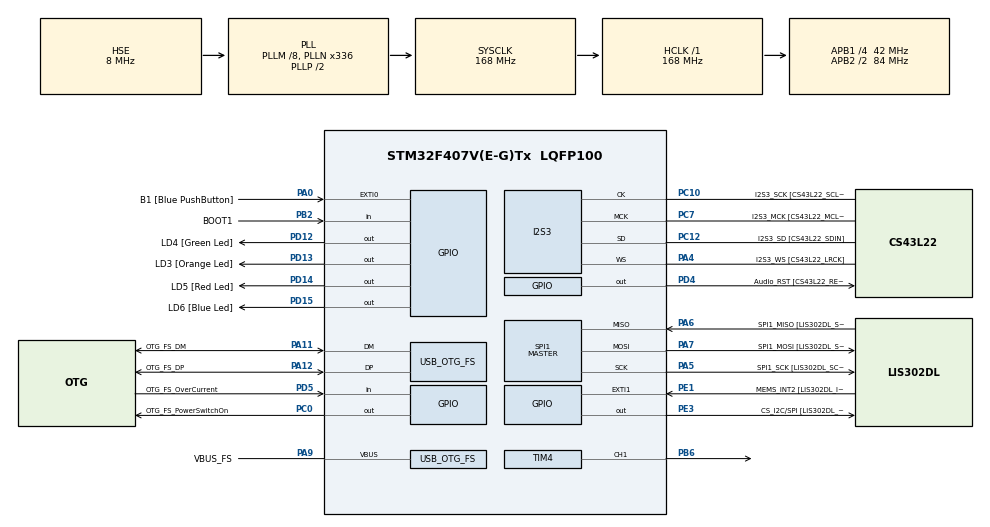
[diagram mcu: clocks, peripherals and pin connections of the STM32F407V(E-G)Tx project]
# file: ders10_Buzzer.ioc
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I2S3.AudioFreq-Half_Duplex_Master=I2S_AUDIOFREQ_96K
I2S3.ErrorAudioFreq=-2.34 %
I2S3.ErrorAudioFreq-Half_Duplex_Master=0.8 %
I2S3.FullDuplexMode=I2S_FULLDUPLEXMODE_DISABLE
I2S3.Instance=SPI$Index
I2S3.RealAudioFreq=93.75 KHz
I2S3.RealAudioFreq-Half_Duplex_Master=96.774 KHz
I2S3.VirtualMode=I2S_MODE_MASTER
Mcu.Family=STM32F4
Mcu.Name=STM32F407V(E-G)Tx
Mcu.Package=LQFP100
NVIC.OTG_FS_IRQn=true\:0\:0\:false\:false\:true\:true\:true\:true
NVIC.PriorityGroup=NVIC_PRIORITYGROUP_0
PA0-WKUP.GPIO_Label=B1 [Blue PushButton]
PA0-WKUP.GPIO_ModeDefaultEXTI=GPIO_MODE_EVT_RISING
PA0-WKUP.GPIO_PuPd=GPIO_NOPULL
PA0-WKUP.Signal=GPXTI0
PA10.GPIO_Label=OTG_FS_ID
PA10.GPIO_Mode=GPIO_MODE_AF_PP
PA10.GPIO_PuPd=GPIO_NOPULL
PA10.GPIO_Speed=GPIO_SPEED_FREQ_LOW
PA10.Signal=USB_OTG_FS_ID
PA11.GPIO_Label=OTG_FS_DM
PA11.GPIO_Mode=GPIO_MODE_AF_PP
PA11.GPIO_PuPd=GPIO_NOPULL
PA11.GPIO_Speed=GPIO_SPEED_FREQ_LOW
PA11.Mode=Host_Only
PA11.Signal=USB_OTG_FS_DM
PA12.GPIO_Label=OTG_FS_DP
PA12.GPIO_Mode=GPIO_MODE_AF_PP
PA12.GPIO_PuPd=GPIO_NOPULL
PA12.GPIO_Speed=GPIO_SPEED_FREQ_LOW
PA12.Mode=Host_Only
PA12.Signal=USB_OTG_FS_DP
PA13.GPIO_Label=SWDIO
PA13.Mode=Serial_Wire
PA13.Signal=SYS_JTMS-SWDIO
PA14.GPIO_Label=SWCLK
PA14.Mode=Serial_Wire
PA14.Signal=SYS_JTCK-SWCLK
PA4.GPIO_Label=I2S3_WS [CS43L22_LRCK]
PA4.GPIO_Mode=GPIO_MODE_AF_PP
PA4.GPIO_PuPd=GPIO_NOPULL
PA4.GPIO_Speed=GPIO_SPEED_FREQ_LOW
PA4.Mode=Half_Duplex_Master
PA4.Signal=I2S3_WS
PA5.GPIO_Label=SPI1_SCK [LIS302DL_SCL/SPC]
PA5.GPIO_Mode=GPIO_MODE_AF_PP
PA5.GPIO_PuPd=GPIO_NOPULL
PA5.GPIO_Speed=GPIO_SPEED_FREQ_LOW
PA5.Mode=Full_Duplex_Master
PA5.Signal=SPI1_SCK
PA6.GPIO_Label=SPI1_MISO [LIS302DL_SDO]
PA6.GPIO_Mode=GPIO_MODE_AF_PP
PA6.GPIO_PuPd=GPIO_NOPULL
PA6.GPIO_Speed=GPIO_SPEED_FREQ_LOW
PA6.Mode=Full_Duplex_Master
PA6.Signal=SPI1_MISO
PA7.GPIO_Label=SPI1_MOSI [LIS302DL_SDA/SDI/SDO]
PA7.GPIO_Mode=GPIO_MODE_AF_PP
PA7.GPIO_PuPd=GPIO_NOPULL
PA7.GPIO_Speed=GPIO_SPEED_FREQ_LOW
PA7.Mode=Full_Duplex_Master
PA7.Signal=SPI1_MOSI
PA9.GPIO_Label=VBUS_FS
PA9.GPIO_Mode=GPIO_MODE_INPUT
PA9.GPIO_PuPd=GPIO_NOPULL
PA9.Mode=Activate_VBUS
PA9.Signal=USB_OTG_FS_VBUS
PB10.GPIO_Label=CLK_IN [MP45DT02_CLK]
PB10.GPIO_Mode=GPIO_MODE_AF_PP
PB10.GPIO_PuPd=GPIO_NOPULL
PB10.GPIO_Speed=GPIO_SPEED_FREQ_LOW
PB10.Signal=I2S2_CK
PB2.GPIO_Label=BOOT1
PB2.GPIO_Mode=GPIO_MODE_INPUT
PB2.GPIO_PuPd=GPIO_NOPULL
PB2.Signal=GPIO_Input
PB3.GPIO_Label=SWO
PB3.Signal=SYS_JTDO-SWO
PB6.Signal=S_TIM4_CH1
PB9.GPIO_Label=Audio_SDA [CS43L22_SDA]
PB9.GPIO_Mode=GPIO_MODE_AF_OD
PB9.GPIO_Pu=GPIO_PULLUP
PB9.GPIO_PuPd=GPIO_NOPULL
PB9.GPIO_Speed=GPIO_SPEED_FREQ_LOW
PB9.Signal=I2C1_SDA
PC0.GPIO_Label=OTG_FS_PowerSwitchOn
PC0.GPIO_PuPd=GPIO_NOPULL
PC0.GPIO_Speed=GPIO_SPEED_FREQ_LOW
PC0.PinState=GPIO_PIN_SET
PC0.Signal=GPIO_Output
PC10.GPIO_Label=I2S3_SCK [CS43L22_SCLK]
PC10.GPIO_Mode=GPIO_MODE_AF_PP
PC10.GPIO_PuPd=GPIO_NOPULL
PC10.GPIO_Speed=GPIO_SPEED_FREQ_LOW
PC10.Mode=Half_Duplex_Master
PC10.Signal=I2S3_CK
PC12.GPIO_Label=I2S3_SD [CS43L22_SDIN]
PC12.GPIO_Mode=GPIO_MODE_AF_PP
PC12.GPIO_PuPd=GPIO_NOPULL
PC12.GPIO_Speed=GPIO_SPEED_FREQ_LOW
PC12.Mode=Half_Duplex_Master
PC12.Signal=I2S3_SD
PC14-OSC32_IN.GPIO_Label=PC14-OSC32_IN
PC14-OSC32_IN.Mode=LSE-External-Oscillator
PC14-OSC32_IN.Signal=RCC_OSC32_IN
PC15-OSC32_OUT.GPIO_Label=PC15-OSC32_OUT
PC15-OSC32_OUT.Mode=LSE-External-Oscillator
PC15-OSC32_OUT.Signal=RCC_OSC32_OUT
PC3.GPIO_Label=PDM_OUT [MP45DT02_DOUT]
PC3.GPIO_Mode=GPIO_MODE_AF_PP
PC3.GPIO_PuPd=GPIO_NOPULL
PC3.GPIO_Speed=GPIO_SPEED_FREQ_LOW
PC3.Signal=I2S2_SD
PC7.GPIO_Label=I2S3_MCK [CS43L22_MCLK]
PC7.GPIO_Mode=GPIO_MODE_AF_PP
PC7.GPIO_PuPd=GPIO_NOPULL
PC7.GPIO_Speed=GPIO_SPEED_FREQ_LOW
PC7.Mode=Master_Clock_Activated
PC7.Signal=I2S3_MCK
PD12.GPIO_Label=LD4 [Green Led]
PD12.GPIO_PuPd=GPIO_NOPULL
PD12.GPIO_Speed=GPIO_SPEED_FREQ_LOW
PD12.Signal=GPIO_Output
PD13.GPIO_Label=LD3 [Orange Led]
PD13.GPIO_PuPd=GPIO_NOPULL
PD13.GPIO_Speed=GPIO_SPEED_FREQ_LOW
PD13.Signal=GPIO_Output
PD14.GPIO_Label=LD5 [Red Led]
PD14.GPIO_PuPd=GPIO_NOPULL
PD14.GPIO_Speed=GPIO_SPEED_FREQ_LOW
PD14.Signal=GPIO_Output
PD15.GPIO_Label=LD6 [Blue Led]
PD15.GPIO_PuPd=GPIO_NOPULL
PD15.GPIO_Speed=GPIO_SPEED_FREQ_LOW
PD15.Signal=GPIO_Output
PD4.GPIO_Label=Audio_RST [CS43L22_RESET]
PD4.GPIO_PuPd=GPIO_NOPULL
PD4.GPIO_Speed=GPIO_SPEED_FREQ_LOW
PD4.Signal=GPIO_Output
PD5.GPIO_Label=OTG_FS_OverCurrent
PD5.GPIO_Mode=GPIO_MODE_INPUT
PD5.GPIO_PuPd=GPIO_NOPULL
PD5.Signal=GPIO_Input
PE1.GPIO_Label=MEMS_INT2 [LIS302DL_INT2]
PE1.GPIO_ModeDefaultEXTI=GPIO_MODE_EVT_RISING
PE1.GPIO_PuPd=GPIO_NOPULL
PE1.Signal=GPXTI1
PE3.GPIO_Label=CS_I2C/SPI [LIS302DL_CS_I2C/SPI]
PE3.GPIO_PuPd=GPIO_NOPULL
PE3.GPIO_Speed=GPIO_SPEED_FREQ_LOW
PE3.Signal=GPIO_Output
PH0-OSC_IN.GPIO_Label=PH0-OSC_IN
PH0-OSC_IN.Mode=HSE-External-Oscillator
PH0-OSC_IN.Signal=RCC_OSC_IN
PH1-OSC_OUT.GPIO_Label=PH1-OSC_OUT
PH1-OSC_OUT.Mode=HSE-External-Oscillator
PH1-OSC_OUT.Signal=RCC_OSC_OUT
ProjectManager.HeapSize=0x200
ProjectManager.StackSize=0x400
ProjectManager.TargetToolchain=STM32CubeIDE
RCC.48MHZClocksFreq_Value=48000000
RCC.AHBFreq_Value=168000000
RCC.APB1CLKDivider=RCC_HCLK_DIV4
RCC.APB1Freq_Value=42000000
RCC.APB1TimFreq_Value=84000000
RCC.APB2CLKDivider=RCC_HCLK_DIV2
RCC.APB2Freq_Value=84000000
RCC.APB2TimFreq_Value=168000000
RCC.CortexFreq_Value=168000000
RCC.HCLKFreq_Value=168000000
RCC.HSE_VALUE=8000000
RCC.HSI_VALUE=16000000
RCC.PLLM=8
RCC.PLLN=336
RCC.PLLQ=7
RCC.SYSCLKFreq_VALUE=168000000
RCC.SYSCLKSource=RCC_SYSCLKSOURCE_PLLCLK
RCC.VCOOutputFreq_Value=336000000
SH.S_TIM4_CH1.0=TIM4_CH1,PWM Generation1 CH1
SPI1.BaudRatePrescaler-Full_Duplex_Master=SPI_BAUDRATEPRESCALER_2
SPI1.CalculateBaudRate-Full_Duplex_Master=42.0 MBits/s
SPI1.Direction=SPI_DIRECTION_2LINES
SPI1.Mode=SPI_MODE_MASTER
SPI1.Mode-Full_Duplex_Master=SPI_MODE_MASTER
SPI1.VirtualType=VM_MASTER
TIM4.Channel-PWM\ Generation1\ CH1=TIM_CHANNEL_1
TIM4.Period=999
TIM4.Prescaler=83
USB_HOST.BSP.number=1
USB_HOST.USBH_HandleTypeDef-CDC_FS=hUsbHostFS
USB_HOST.VirtualModeFS=Cdc
USB_HOST0.BSP.STBoard=false
USB_HOST0.BSP.api=Unknown
USB_HOST0.BSP.instance=PC0
USB_HOST0.BSP.ip=GPIO
USB_HOST0.BSP.mode=Output
USB_HOST0.BSP.name=Drive_VBUS_FS
USB_HOST0.BSP.solution=PC0
USB_OTG_FS.VirtualMode=Host_Only
USB_OTG_FS.phy_itface=HCD_PHY_EMBEDDED
VP_USB_HOST_VS_USB_HOST_CDC_FS.Mode=CDC_FS
board=STM32F407G-DISC1

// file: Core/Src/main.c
/* USER CODE BEGIN Header */
/**
 ******************************************************************************
 * @file           : main.c
 * @brief          : Main program body
 ******************************************************************************
 * @attention
 *
 * Copyright (c) 2025 STMicroelectronics.
 * All rights reserved.
 *
 * This software is licensed under terms that can be found in the LICENSE file
 * in the root directory of this software component.
 * If no LICENSE file comes with this software, it is provided AS-IS.
 *
 ******************************************************************************
 */
/* USER CODE END Header */
#include "main.h"
#include "usb_host.h"

I2S_HandleTypeDef hi2s3;

SPI_HandleTypeDef hspi1;

TIM_HandleTypeDef htim4;

void SystemClock_Config(void);
static void MX_GPIO_Init(void);
static void MX_I2S3_Init(void);
static void MX_SPI1_Init(void);
static void MX_TIM4_Init(void);
void MX_USB_HOST_Process(void);

/* USER CODE BEGIN PFP */

void playTone(uint16_t freq, uint32_t duration) {
	uint32_t prescaler = 84 - 1;           // 1 MHz base (assuming 84MHz SYSCLK)
	uint32_t period = (1000000 / freq) - 1;        // ARR

	htim4.Init.Prescaler = prescaler;
	htim4.Init.Period = period;
	HAL_TIM_PWM_Init(&htim4);

	TIM_OC_InitTypeDef sConfigOC = { 0 };
	sConfigOC.OCMode = TIM_OCMODE_PWM1;
	sConfigOC.Pulse = period / 2; // %50 duty cycle
	sConfigOC.OCPolarity = TIM_OCPOLARITY_HIGH;
	sConfigOC.OCFastMode = TIM_OCFAST_DISABLE;
	HAL_TIM_PWM_ConfigChannel(&htim4, &sConfigOC, TIM_CHANNEL_1);

	HAL_TIM_PWM_Start(&htim4, TIM_CHANNEL_1);
	HAL_Delay(duration);
	HAL_TIM_PWM_Stop(&htim4, TIM_CHANNEL_1);
}
/* USER CODE END PFP */

int main(void)
{

  /* MCU Configuration--------------------------------------------------------*/

  /* Reset of all peripherals, Initializes the Flash interface and the Systick. */
  HAL_Init();

  /* Configure the system clock */
  SystemClock_Config();

  /* Initialize all configured peripherals */
  MX_GPIO_Init();
  MX_I2S3_Init();
  MX_SPI1_Init();
  MX_USB_HOST_Init();
  MX_TIM4_Init();
  /* USER CODE BEGIN 2 */
	HAL_TIM_PWM_Start(&htim4, TIM_CHANNEL_1);

  /* USER CODE END 2 */

  /* Infinite loop */
	while (1) {
    MX_USB_HOST_Process();

    /* USER CODE BEGIN 3 */
		playTone(262, 400); // DO
		playTone(294, 400); // RE
		playTone(330, 400); // Mİ
		playTone(349, 400); // FA
		playTone(392, 400); // SOL
		playTone(440, 400); // LA
		playTone(494, 400); // Sİ
		playTone(523, 600); // DO (üst oktav)

		HAL_Delay(1000); // 1 saniye ara
	}
  /* USER CODE END 3 */
}

void SystemClock_Config(void)
{
  RCC_OscInitTypeDef RCC_OscInitStruct = {0};
  RCC_ClkInitTypeDef RCC_ClkInitStruct = {0};

  /** Configure the main internal regulator output voltage
  */
  __HAL_RCC_PWR_CLK_ENABLE();
  __HAL_PWR_VOLTAGESCALING_CONFIG(PWR_REGULATOR_VOLTAGE_SCALE1);

  /** Initializes the RCC Oscillators according to the specified parameters
  * in the RCC_OscInitTypeDef structure.
  */
  RCC_OscInitStruct.OscillatorType = RCC_OSCILLATORTYPE_HSE;
  RCC_OscInitStruct.HSEState = RCC_HSE_ON;
  RCC_OscInitStruct.PLL.PLLState = RCC_PLL_ON;
  RCC_OscInitStruct.PLL.PLLSource = RCC_PLLSOURCE_HSE;
  RCC_OscInitStruct.PLL.PLLM = 8;
  RCC_OscInitStruct.PLL.PLLN = 336;
  RCC_OscInitStruct.PLL.PLLP = RCC_PLLP_DIV2;
  RCC_OscInitStruct.PLL.PLLQ = 7;
  if (HAL_RCC_OscConfig(&RCC_OscInitStruct) != HAL_OK)
  {
    Error_Handler();
  }

  /** Initializes the CPU, AHB and APB buses clocks
  */
  RCC_ClkInitStruct.ClockType = RCC_CLOCKTYPE_HCLK|RCC_CLOCKTYPE_SYSCLK
                              |RCC_CLOCKTYPE_PCLK1|RCC_CLOCKTYPE_PCLK2;
  RCC_ClkInitStruct.SYSCLKSource = RCC_SYSCLKSOURCE_PLLCLK;
  RCC_ClkInitStruct.AHBCLKDivider = RCC_SYSCLK_DIV1;
  RCC_ClkInitStruct.APB1CLKDivider = RCC_HCLK_DIV4;
  RCC_ClkInitStruct.APB2CLKDivider = RCC_HCLK_DIV2;

  if (HAL_RCC_ClockConfig(&RCC_ClkInitStruct, FLASH_LATENCY_5) != HAL_OK)
  {
    Error_Handler();
  }
}

static void MX_I2S3_Init(void)
{

  hi2s3.Instance = SPI3;
  hi2s3.Init.Mode = I2S_MODE_MASTER_TX;
  hi2s3.Init.Standard = I2S_STANDARD_PHILIPS;
  hi2s3.Init.DataFormat = I2S_DATAFORMAT_16B;
  hi2s3.Init.MCLKOutput = I2S_MCLKOUTPUT_ENABLE;
  hi2s3.Init.AudioFreq = I2S_AUDIOFREQ_96K;
  hi2s3.Init.CPOL = I2S_CPOL_LOW;
  hi2s3.Init.ClockSource = I2S_CLOCK_PLL;
  hi2s3.Init.FullDuplexMode = I2S_FULLDUPLEXMODE_DISABLE;
  if (HAL_I2S_Init(&hi2s3) != HAL_OK)
  {
    Error_Handler();
  }

}

static void MX_SPI1_Init(void)
{

  /* SPI1 parameter configuration*/
  hspi1.Instance = SPI1;
  hspi1.Init.Mode = SPI_MODE_MASTER;
  hspi1.Init.Direction = SPI_DIRECTION_2LINES;
  hspi1.Init.DataSize = SPI_DATASIZE_8BIT;
  hspi1.Init.CLKPolarity = SPI_POLARITY_LOW;
  hspi1.Init.CLKPhase = SPI_PHASE_1EDGE;
  hspi1.Init.NSS = SPI_NSS_SOFT;
  hspi1.Init.BaudRatePrescaler = SPI_BAUDRATEPRESCALER_2;
  hspi1.Init.FirstBit = SPI_FIRSTBIT_MSB;
  hspi1.Init.TIMode = SPI_TIMODE_DISABLE;
  hspi1.Init.CRCCalculation = SPI_CRCCALCULATION_DISABLE;
  hspi1.Init.CRCPolynomial = 10;
  if (HAL_SPI_Init(&hspi1) != HAL_OK)
  {
    Error_Handler();
  }

}

static void MX_TIM4_Init(void)
{

  TIM_MasterConfigTypeDef sMasterConfig = {0};
  TIM_OC_InitTypeDef sConfigOC = {0};

  htim4.Instance = TIM4;
  htim4.Init.Prescaler = 83;
  htim4.Init.CounterMode = TIM_COUNTERMODE_UP;
  htim4.Init.Period = 999;
  htim4.Init.ClockDivision = TIM_CLOCKDIVISION_DIV1;
  htim4.Init.AutoReloadPreload = TIM_AUTORELOAD_PRELOAD_DISABLE;
  if (HAL_TIM_PWM_Init(&htim4) != HAL_OK)
  {
    Error_Handler();
  }
  sMasterConfig.MasterOutputTrigger = TIM_TRGO_RESET;
  sMasterConfig.MasterSlaveMode = TIM_MASTERSLAVEMODE_DISABLE;
  if (HAL_TIMEx_MasterConfigSynchronization(&htim4, &sMasterConfig) != HAL_OK)
  {
    Error_Handler();
  }
  sConfigOC.OCMode = TIM_OCMODE_PWM1;
  sConfigOC.Pulse = 0;
  sConfigOC.OCPolarity = TIM_OCPOLARITY_HIGH;
  sConfigOC.OCFastMode = TIM_OCFAST_DISABLE;
  if (HAL_TIM_PWM_ConfigChannel(&htim4, &sConfigOC, TIM_CHANNEL_1) != HAL_OK)
  {
    Error_Handler();
  }
  HAL_TIM_MspPostInit(&htim4);

}

static void MX_GPIO_Init(void)
{
  GPIO_InitTypeDef GPIO_InitStruct = {0};

  /* GPIO Ports Clock Enable */
  __HAL_RCC_GPIOE_CLK_ENABLE();
  __HAL_RCC_GPIOC_CLK_ENABLE();
  __HAL_RCC_GPIOH_CLK_ENABLE();
  __HAL_RCC_GPIOA_CLK_ENABLE();
  __HAL_RCC_GPIOB_CLK_ENABLE();
  __HAL_RCC_GPIOD_CLK_ENABLE();

  /*Configure GPIO pin Output Level */
  HAL_GPIO_WritePin(CS_I2C_SPI_GPIO_Port, CS_I2C_SPI_Pin, GPIO_PIN_RESET);

  /*Configure GPIO pin Output Level */
  HAL_GPIO_WritePin(OTG_FS_PowerSwitchOn_GPIO_Port, OTG_FS_PowerSwitchOn_Pin, GPIO_PIN_SET);

  /*Configure GPIO pin Output Level */
  HAL_GPIO_WritePin(GPIOD, LD4_Pin|LD3_Pin|LD5_Pin|LD6_Pin
                          |Audio_RST_Pin, GPIO_PIN_RESET);

  /*Configure GPIO pin : CS_I2C_SPI_Pin */
  GPIO_InitStruct.Pin = CS_I2C_SPI_Pin;
  GPIO_InitStruct.Mode = GPIO_MODE_OUTPUT_PP;
  GPIO_InitStruct.Pull = GPIO_NOPULL;
  GPIO_InitStruct.Speed = GPIO_SPEED_FREQ_LOW;
  HAL_GPIO_Init(CS_I2C_SPI_GPIO_Port, &GPIO_InitStruct);

  /*Configure GPIO pin : OTG_FS_PowerSwitchOn_Pin */
  GPIO_InitStruct.Pin = OTG_FS_PowerSwitchOn_Pin;
  GPIO_InitStruct.Mode = GPIO_MODE_OUTPUT_PP;
  GPIO_InitStruct.Pull = GPIO_NOPULL;
  GPIO_InitStruct.Speed = GPIO_SPEED_FREQ_LOW;
  HAL_GPIO_Init(OTG_FS_PowerSwitchOn_GPIO_Port, &GPIO_InitStruct);

  /*Configure GPIO pin : PDM_OUT_Pin */
  GPIO_InitStruct.Pin = PDM_OUT_Pin;
  GPIO_InitStruct.Mode = GPIO_MODE_AF_PP;
  GPIO_InitStruct.Pull = GPIO_NOPULL;
  GPIO_InitStruct.Speed = GPIO_SPEED_FREQ_LOW;
  GPIO_InitStruct.Alternate = GPIO_AF5_SPI2;
  HAL_GPIO_Init(PDM_OUT_GPIO_Port, &GPIO_InitStruct);

  /*Configure GPIO pin : B1_Pin */
  GPIO_InitStruct.Pin = B1_Pin;
  GPIO_InitStruct.Mode = GPIO_MODE_EVT_RISING;
  GPIO_InitStruct.Pull = GPIO_NOPULL;
  HAL_GPIO_Init(B1_GPIO_Port, &GPIO_InitStruct);

  /*Configure GPIO pin : BOOT1_Pin */
  GPIO_InitStruct.Pin = BOOT1_Pin;
  GPIO_InitStruct.Mode = GPIO_MODE_INPUT;
  GPIO_InitStruct.Pull = GPIO_NOPULL;
  HAL_GPIO_Init(BOOT1_GPIO_Port, &GPIO_InitStruct);

  /*Configure GPIO pin : CLK_IN_Pin */
  GPIO_InitStruct.Pin = CLK_IN_Pin;
  GPIO_InitStruct.Mode = GPIO_MODE_AF_PP;
  GPIO_InitStruct.Pull = GPIO_NOPULL;
  GPIO_InitStruct.Speed = GPIO_SPEED_FREQ_LOW;
  GPIO_InitStruct.Alternate = GPIO_AF5_SPI2;
  HAL_GPIO_Init(CLK_IN_GPIO_Port, &GPIO_InitStruct);

  /*Configure GPIO pins : LD4_Pin LD3_Pin LD5_Pin LD6_Pin
                           Audio_RST_Pin */
  GPIO_InitStruct.Pin = LD4_Pin|LD3_Pin|LD5_Pin|LD6_Pin
                          |Audio_RST_Pin;
  GPIO_InitStruct.Mode = GPIO_MODE_OUTPUT_PP;
  GPIO_InitStruct.Pull = GPIO_NOPULL;
  GPIO_InitStruct.Speed = GPIO_SPEED_FREQ_LOW;
  HAL_GPIO_Init(GPIOD, &GPIO_InitStruct);

  /*Configure GPIO pin : OTG_FS_OverCurrent_Pin */
  GPIO_InitStruct.Pin = OTG_FS_OverCurrent_Pin;
  GPIO_InitStruct.Mode = GPIO_MODE_INPUT;
  GPIO_InitStruct.Pull = GPIO_NOPULL;
  HAL_GPIO_Init(OTG_FS_OverCurrent_GPIO_Port, &GPIO_InitStruct);

  /*Configure GPIO pin : Audio_SDA_Pin */
  GPIO_InitStruct.Pin = Audio_SDA_Pin;
  GPIO_InitStruct.Mode = GPIO_MODE_AF_OD;
  GPIO_InitStruct.Pull = GPIO_PULLUP;
  GPIO_InitStruct.Speed = GPIO_SPEED_FREQ_LOW;
  GPIO_InitStruct.Alternate = GPIO_AF4_I2C1;
  HAL_GPIO_Init(Audio_SDA_GPIO_Port, &GPIO_InitStruct);

  /*Configure GPIO pin : MEMS_INT2_Pin */
  GPIO_InitStruct.Pin = MEMS_INT2_Pin;
  GPIO_InitStruct.Mode = GPIO_MODE_EVT_RISING;
  GPIO_InitStruct.Pull = GPIO_NOPULL;
  HAL_GPIO_Init(MEMS_INT2_GPIO_Port, &GPIO_InitStruct);

}

void Error_Handler(void)
{
	__disable_irq();
	while (1) {
	}
}
